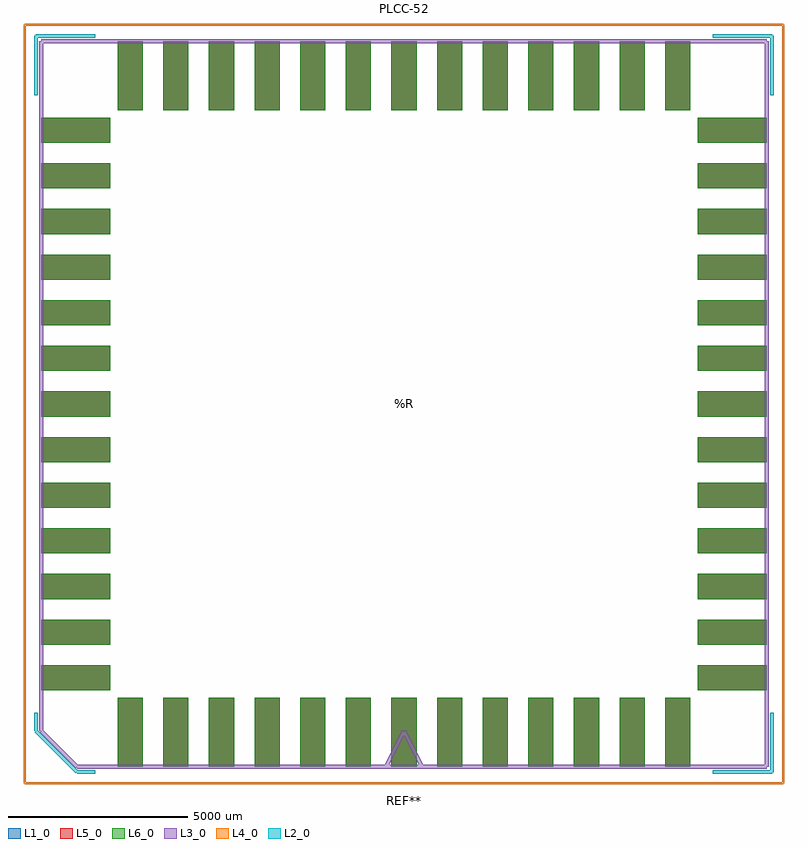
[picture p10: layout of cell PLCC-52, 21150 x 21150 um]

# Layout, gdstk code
import gdstk
lib = gdstk.Library(unit=1e-6, precision=1e-09)
def R(c, l, rs):  # rectangles x0, y0, x1, y1
    for r in rs: c.add(gdstk.rectangle(r[:2], r[2:], *l))
def A(c, l, x, y, w, h, nx, ny, dx, dy):  # array of equal rectangles
    R(c, l, [(x+i*dx, y+j*dy, x+i*dx+w, y+j*dy+h) for i in range(nx) for j in range(ny)])
L1_0 = (1, 0)
L2_0 = (2, 0)
L3_0 = (3, 0)
L4_0 = (4, 0)
L5_0 = (5, 0)
L6_0 = (6, 0)

plcc_52 = lib.new_cell('PLCC-52')
A(plcc_52, L1_0, -7970, -10095, 700, 1925, 13, 2, 1270, 18265)
A(plcc_52, L1_0, -10095, -7970, 1925, 700, 1, 13, 0, 1270)
A(plcc_52, L1_0, 8170, -7970, 1925, 700, 1, 13, 0, 1270)
A(plcc_52, L5_0, -7970, -10095, 700, 1925, 13, 2, 1270, 18265)
A(plcc_52, L5_0, -10095, -7970, 1925, 700, 1, 13, 0, 1270)
A(plcc_52, L5_0, 8170, -7970, 1925, 700, 1, 13, 0, 1270)
A(plcc_52, L6_0, -7970, -10095, 700, 1925, 13, 2, 1270, 18265)
A(plcc_52, L6_0, -10095, -7970, 1925, 700, 1, 13, 0, 1270)
A(plcc_52, L6_0, 8170, -7970, 1925, 700, 1, 13, 0, 1270)
plcc_52.add(gdstk.FlexPath([(-9095,-10095),(-10095,-9095)], 100, ends="flush", simple_path=True, layer=3, datatype=0))  # L3_0
plcc_52.add(gdstk.FlexPath([(-10095,-9095),(-10095,10095)], 100, ends="flush", simple_path=True, layer=3, datatype=0))  # L3_0
plcc_52.add(gdstk.FlexPath([(-10095,10095),(10095,10095)], 100, ends="flush", simple_path=True, layer=3, datatype=0))  # L3_0
plcc_52.add(gdstk.FlexPath([(10095,10095),(10095,-10095)], 100, ends="flush", simple_path=True, layer=3, datatype=0))  # L3_0
plcc_52.add(gdstk.FlexPath([(10095,-10095),(-9095,-10095)], 100, ends="flush", simple_path=True, layer=3, datatype=0))  # L3_0
plcc_52.add(gdstk.FlexPath([(-10550,-10550),(-10550,10550)], 50, ends="flush", simple_path=True, layer=4, datatype=0))  # L4_0
plcc_52.add(gdstk.FlexPath([(-10550,10550),(10550,10550)], 50, ends="flush", simple_path=True, layer=4, datatype=0))  # L4_0
plcc_52.add(gdstk.FlexPath([(10550,10550),(10550,-10550)], 50, ends="flush", simple_path=True, layer=4, datatype=0))  # L4_0
plcc_52.add(gdstk.FlexPath([(10550,-10550),(-10550,-10550)], 50, ends="flush", simple_path=True, layer=4, datatype=0))  # L4_0
plcc_52.add(gdstk.FlexPath([(-500,-10095),(0,-9095)], 100, ends="flush", simple_path=True, layer=3, datatype=0))  # L3_0
plcc_52.add(gdstk.FlexPath([(0,-9095),(500,-10095)], 100, ends="flush", simple_path=True, layer=3, datatype=0))  # L3_0
plcc_52.add(gdstk.FlexPath([(-8595,-10245),(-9095,-10245)], 100, ends="flush", simple_path=True, layer=2, datatype=0))  # L2_0
plcc_52.add(gdstk.FlexPath([(-9095,-10245),(-10245,-9095)], 100, ends="flush", simple_path=True, layer=2, datatype=0))  # L2_0
plcc_52.add(gdstk.FlexPath([(-10245,-9095),(-10245,-8595)], 100, ends="flush", simple_path=True, layer=2, datatype=0))  # L2_0
plcc_52.add(gdstk.FlexPath([(8595,-10245),(10245,-10245)], 100, ends="flush", simple_path=True, layer=2, datatype=0))  # L2_0
plcc_52.add(gdstk.FlexPath([(10245,-10245),(10245,-8595)], 100, ends="flush", simple_path=True, layer=2, datatype=0))  # L2_0
plcc_52.add(gdstk.FlexPath([(-8595,10245),(-10245,10245)], 100, ends="flush", simple_path=True, layer=2, datatype=0))  # L2_0
plcc_52.add(gdstk.FlexPath([(-10245,10245),(-10245,8595)], 100, ends="flush", simple_path=True, layer=2, datatype=0))  # L2_0
plcc_52.add(gdstk.FlexPath([(8595,10245),(10245,10245)], 100, ends="flush", simple_path=True, layer=2, datatype=0))  # L2_0
plcc_52.add(gdstk.FlexPath([(10245,10245),(10245,8595)], 100, ends="flush", simple_path=True, layer=2, datatype=0))  # L2_0
plcc_52.add(gdstk.Label('REF**', (0,-11095), layer=2, texttype=0))
plcc_52.add(gdstk.Label('PLCC-52', (0,11095), layer=3, texttype=0))
plcc_52.add(gdstk.Label('%R', (0,0), layer=3, texttype=0))

lib.write_gds('PLCC-52.gds')
